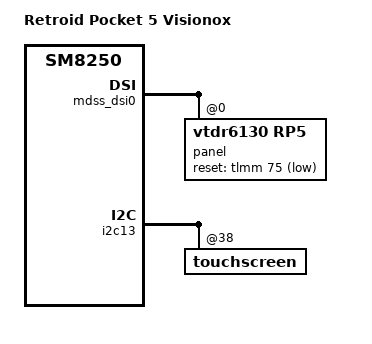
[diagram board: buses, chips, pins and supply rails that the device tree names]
// SPDX-License-Identifier: GPL-2.0
/*
 * Retroid Pocket 5 with the Visionox VTDR6130 panel (newer units); the CH13726A
 * init leaves this panel dark. Picked by grub's "visionox" marker file.
 */

/dts-v1/;

#include "sm8250-retroidpocket-rp5.dts"

/ {
	model = "Retroid Pocket 5 Visionox";
};

&mdss_dsi0 {
	panel@0 {
		compatible = "vtdr6130,rp5";
		reset-gpios = <&tlmm 75 GPIO_ACTIVE_LOW>;
	};
};

&i2c13 {
	touchscreen@38 {
		/delete-property/ touchscreen-inverted-x;
	};
};

/*
 * regulator-boot-on makes the core assume AVDD is already up, so prepare() never
 * power-cycles it and this panel stays dark on a cold boot (lit only after a
 * suspend/resume). Without it the driver's enable is a real power-on.
 */
&vdda_panel {
	/delete-property/ regulator-boot-on;
};
